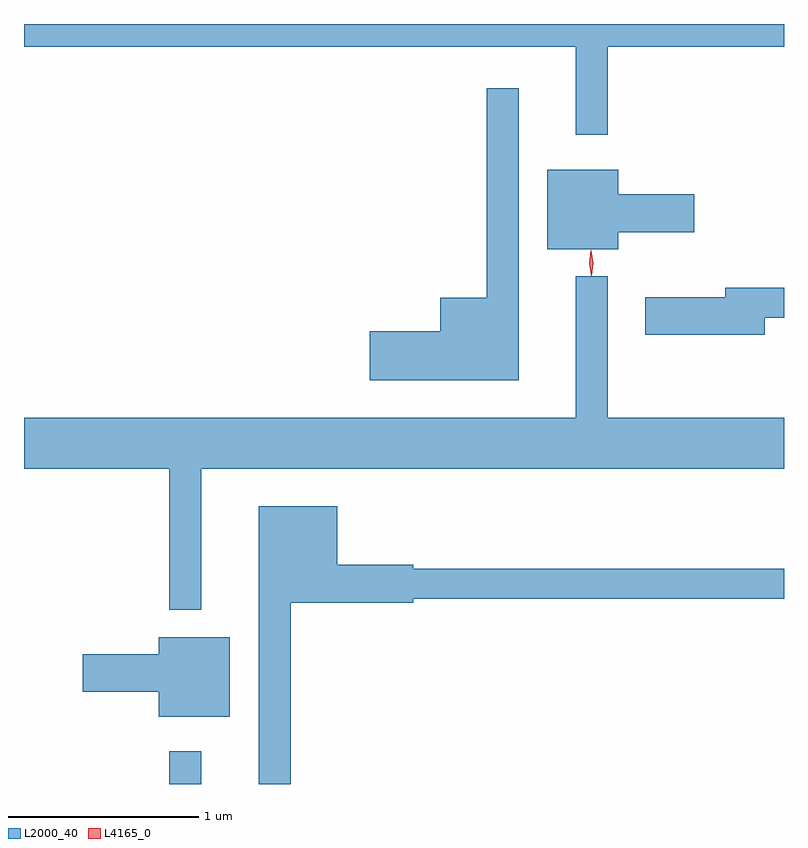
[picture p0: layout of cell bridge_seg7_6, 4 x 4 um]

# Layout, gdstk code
import gdstk
lib = gdstk.Library(unit=1e-6, precision=1e-09)
def R(c, l, rs):  # rectangles x0, y0, x1, y1
    for r in rs: c.add(gdstk.rectangle(r[:2], r[2:], *l))
def P(c, l, *ps):  # polygons
    for p in ps: c.add(gdstk.Polygon(p, *l))
L2000_40 = (2000, 40)
L4165_0 = (4165, 0)

bridge_seg7_6 = lib.new_cell('bridge_seg7_6')
R(bridge_seg7_6, L2000_40, [(1688.691,1765.936,1688.859,1766.108)])
P(bridge_seg7_6, L2000_40, [(1690.999,1769.816),(1691.926,1769.816),(1691.926,1769.936),(1687.926,1769.936),(1687.926,1769.816),(1690.831,1769.816),(1690.831,1769.353),(1690.999,1769.353)],
  [(1690.529,1769.598),(1690.361,1769.598),(1690.361,1768.494),(1690.116,1768.494),(1690.116,1768.319),(1689.746,1768.319),(1689.746,1768.061),(1690.529,1768.061)],
  [(1691.054,1768.841),(1691.454,1768.841),(1691.454,1769.039),(1691.054,1769.039),(1691.054,1769.169),(1690.681,1769.169),(1690.681,1768.751),(1691.054,1768.751)],
  [(1688.859,1767.596),(1691.926,1767.596),(1691.926,1767.864),(1690.999,1767.864),(1690.999,1768.608),(1690.831,1768.608),(1690.831,1767.864),(1687.926,1767.864),(1687.926,1767.596),(1688.691,1767.596),(1688.691,1766.853),(1688.859,1766.853)],
  [(1691.824,1768.391),(1691.926,1768.391),(1691.926,1768.549),(1691.616,1768.549),(1691.616,1768.499),(1691.196,1768.499),(1691.196,1768.301),(1691.824,1768.301)],
  [(1689.329,1766.891),(1689.974,1766.891),(1689.974,1766.911),(1691.926,1766.911),(1691.926,1767.069),(1689.974,1767.069),(1689.974,1767.089),(1689.574,1767.089),(1689.574,1767.399),(1689.161,1767.399),(1689.161,1765.936),(1689.329,1765.936)],
  [(1689.009,1766.709),(1688.636,1766.709),(1688.636,1766.619),(1688.236,1766.619),(1688.236,1766.421),(1688.636,1766.421),(1688.636,1766.291),(1689.009,1766.291)])
P(bridge_seg7_6, L4165_0, [(1690.912,1768.613),(1690.912,1768.613),(1690.902,1768.676),(1690.91,1768.739),(1690.911,1768.74),(1690.911,1768.739),(1690.922,1768.676),(1690.913,1768.613)],
  [(1690.912,1768.609),(1690.912,1768.61),(1690.902,1768.677),(1690.91,1768.745),(1690.911,1768.745),(1690.911,1768.745),(1690.921,1768.678),(1690.913,1768.61)])

lib.write_gds('bridge_seg7_6.gds')
